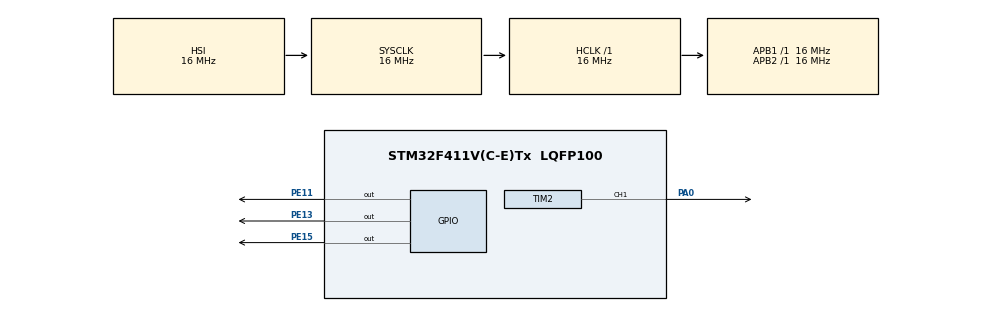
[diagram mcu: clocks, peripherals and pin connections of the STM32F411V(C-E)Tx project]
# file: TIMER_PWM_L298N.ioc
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Mcu.Family=STM32F4
Mcu.Name=STM32F411V(C-E)Tx
Mcu.Package=LQFP100
NVIC.PriorityGroup=NVIC_PRIORITYGROUP_4
PA0-WKUP.Signal=S_TIM2_CH1_ETR
PA13.Mode=Serial_Wire
PA13.Signal=SYS_JTMS-SWDIO
PA14.Mode=Serial_Wire
PA14.Signal=SYS_JTCK-SWCLK
PE11.Signal=GPIO_Output
PE13.Signal=GPIO_Output
PE15.Signal=GPIO_Output
PH0\ -\ OSC_IN.Mode=HSE-External-Oscillator
PH0\ -\ OSC_IN.Signal=RCC_OSC_IN
PH1\ -\ OSC_OUT.Mode=HSE-External-Oscillator
PH1\ -\ OSC_OUT.Signal=RCC_OSC_OUT
ProjectManager.HeapSize=0x200
ProjectManager.StackSize=0x400
ProjectManager.TargetToolchain=STM32CubeIDE
RCC.AHBFreq_Value=16000000
RCC.APB1Freq_Value=16000000
RCC.APB2Freq_Value=16000000
RCC.CortexFreq_Value=16000000
RCC.HSE_VALUE=25000000
RCC.HSI_VALUE=16000000
RCC.LSE_VALUE=32768
RCC.SYSCLKFreq_VALUE=16000000
RCC.VCOOutputFreq_Value=192000000
SH.S_TIM2_CH1_ETR.0=TIM2_CH1,PWM Generation1 CH1
TIM2.Channel-PWM\ Generation1\ CH1=TIM_CHANNEL_1
TIM2.Period=99
TIM2.Prescaler=159
VP_TIM2_VS_ClockSourceINT.Mode=Internal
board=custom

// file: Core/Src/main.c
/* USER CODE BEGIN Header */
/**
  ******************************************************************************
  * @file           : main.c
  * @brief          : Main program body
  ******************************************************************************
  * @attention
  *
  * Copyright (c) 2022 STMicroelectronics.
  * All rights reserved.
  *
  * This software is licensed under terms that can be found in the LICENSE file
  * in the root directory of this software component.
  * If no LICENSE file comes with this software, it is provided AS-IS.
  *
  ******************************************************************************
  */
/* USER CODE END Header */
#include "main.h"

/* USER CODE BEGIN PD */
#define IN1_PORT GPIOE
#define IN1_PIN GPIO_PIN_15

#define IN2_PORT GPIOE
#define IN2_PIN GPIO_PIN_13

#define RUNLED_PORT GPIOE
#define RUNLED_PIN GPIO_PIN_11
/* USER CODE END PD */

 TIM_HandleTypeDef htim2;

void SystemClock_Config(void);
static void MX_GPIO_Init(void);
static void MX_TIM2_Init(void);

int main(void)
{

  /* MCU Configuration--------------------------------------------------------*/

  /* Reset of all peripherals, Initializes the Flash interface and the Systick. */
  HAL_Init();

  /* Configure the system clock */
  SystemClock_Config();

  /* Initialize all configured peripherals */
  MX_GPIO_Init();
  MX_TIM2_Init();
  /* USER CODE BEGIN 2 */
  HAL_TIM_PWM_Start(&htim2, TIM_CHANNEL_1);
  /* USER CODE END 2 */

  /* Infinite loop */
  /* USER CODE BEGIN WHILE */
  while (1)
  {
		HAL_GPIO_WritePin(IN1_PORT, IN1_PIN, 0);
		HAL_GPIO_WritePin(IN2_PORT, IN2_PIN, 0);
		HAL_GPIO_WritePin(RUNLED_PORT, RUNLED_PIN, 0);
		__HAL_TIM_SetCompare(&htim2,TIM_CHANNEL_1,0);
		HAL_Delay(2000);

		HAL_GPIO_WritePin(IN1_PORT, IN1_PIN, 1);
		HAL_GPIO_WritePin(IN2_PORT, IN2_PIN, 0);
		HAL_GPIO_WritePin(RUNLED_PORT, RUNLED_PIN, 1);
		__HAL_TIM_SetCompare(&htim2,TIM_CHANNEL_1,99);
		HAL_Delay(2000);

		HAL_GPIO_WritePin(IN1_PORT, IN1_PIN, 0);
		HAL_GPIO_WritePin(IN2_PORT, IN2_PIN, 0);
		HAL_GPIO_WritePin(RUNLED_PORT, RUNLED_PIN, 0);
		__HAL_TIM_SetCompare(&htim2,TIM_CHANNEL_1,0);
		HAL_Delay(2000);

		HAL_GPIO_WritePin(IN1_PORT, IN1_PIN, 0);
		HAL_GPIO_WritePin(IN2_PORT, IN2_PIN, 1);
		HAL_GPIO_WritePin(RUNLED_PORT, RUNLED_PIN, 1);
		__HAL_TIM_SetCompare(&htim2,TIM_CHANNEL_1,99);
		HAL_Delay(2000);
    /* USER CODE END WHILE */

  }
}

void SystemClock_Config(void)
{
  RCC_OscInitTypeDef RCC_OscInitStruct = {0};
  RCC_ClkInitTypeDef RCC_ClkInitStruct = {0};

  /** Configure the main internal regulator output voltage
  */
  __HAL_RCC_PWR_CLK_ENABLE();
  __HAL_PWR_VOLTAGESCALING_CONFIG(PWR_REGULATOR_VOLTAGE_SCALE1);

  /** Initializes the RCC Oscillators according to the specified parameters
  * in the RCC_OscInitTypeDef structure.
  */
  RCC_OscInitStruct.OscillatorType = RCC_OSCILLATORTYPE_HSI;
  RCC_OscInitStruct.HSIState = RCC_HSI_ON;
  RCC_OscInitStruct.HSICalibrationValue = RCC_HSICALIBRATION_DEFAULT;
  RCC_OscInitStruct.PLL.PLLState = RCC_PLL_NONE;
  if (HAL_RCC_OscConfig(&RCC_OscInitStruct) != HAL_OK)
  {
    Error_Handler();
  }

  /** Initializes the CPU, AHB and APB buses clocks
  */
  RCC_ClkInitStruct.ClockType = RCC_CLOCKTYPE_HCLK|RCC_CLOCKTYPE_SYSCLK
                              |RCC_CLOCKTYPE_PCLK1|RCC_CLOCKTYPE_PCLK2;
  RCC_ClkInitStruct.SYSCLKSource = RCC_SYSCLKSOURCE_HSI;
  RCC_ClkInitStruct.AHBCLKDivider = RCC_SYSCLK_DIV1;
  RCC_ClkInitStruct.APB1CLKDivider = RCC_HCLK_DIV1;
  RCC_ClkInitStruct.APB2CLKDivider = RCC_HCLK_DIV1;

  if (HAL_RCC_ClockConfig(&RCC_ClkInitStruct, FLASH_LATENCY_0) != HAL_OK)
  {
    Error_Handler();
  }
}

static void MX_TIM2_Init(void)
{

  TIM_ClockConfigTypeDef sClockSourceConfig = {0};
  TIM_MasterConfigTypeDef sMasterConfig = {0};
  TIM_OC_InitTypeDef sConfigOC = {0};

  htim2.Instance = TIM2;
  htim2.Init.Prescaler = 159;
  htim2.Init.CounterMode = TIM_COUNTERMODE_UP;
  htim2.Init.Period = 99;
  htim2.Init.ClockDivision = TIM_CLOCKDIVISION_DIV1;
  htim2.Init.AutoReloadPreload = TIM_AUTORELOAD_PRELOAD_DISABLE;
  if (HAL_TIM_Base_Init(&htim2) != HAL_OK)
  {
    Error_Handler();
  }
  sClockSourceConfig.ClockSource = TIM_CLOCKSOURCE_INTERNAL;
  if (HAL_TIM_ConfigClockSource(&htim2, &sClockSourceConfig) != HAL_OK)
  {
    Error_Handler();
  }
  if (HAL_TIM_PWM_Init(&htim2) != HAL_OK)
  {
    Error_Handler();
  }
  sMasterConfig.MasterOutputTrigger = TIM_TRGO_RESET;
  sMasterConfig.MasterSlaveMode = TIM_MASTERSLAVEMODE_DISABLE;
  if (HAL_TIMEx_MasterConfigSynchronization(&htim2, &sMasterConfig) != HAL_OK)
  {
    Error_Handler();
  }
  sConfigOC.OCMode = TIM_OCMODE_PWM1;
  sConfigOC.Pulse = 0;
  sConfigOC.OCPolarity = TIM_OCPOLARITY_HIGH;
  sConfigOC.OCFastMode = TIM_OCFAST_DISABLE;
  if (HAL_TIM_PWM_ConfigChannel(&htim2, &sConfigOC, TIM_CHANNEL_1) != HAL_OK)
  {
    Error_Handler();
  }
  HAL_TIM_MspPostInit(&htim2);

}

static void MX_GPIO_Init(void)
{
  GPIO_InitTypeDef GPIO_InitStruct = {0};

  /* GPIO Ports Clock Enable */
  __HAL_RCC_GPIOH_CLK_ENABLE();
  __HAL_RCC_GPIOA_CLK_ENABLE();
  __HAL_RCC_GPIOE_CLK_ENABLE();

  /*Configure GPIO pin Output Level */
  HAL_GPIO_WritePin(GPIOE, GPIO_PIN_11|GPIO_PIN_13|GPIO_PIN_15, GPIO_PIN_RESET);

  /*Configure GPIO pins : PE11 PE13 PE15 */
  GPIO_InitStruct.Pin = GPIO_PIN_11|GPIO_PIN_13|GPIO_PIN_15;
  GPIO_InitStruct.Mode = GPIO_MODE_OUTPUT_PP;
  GPIO_InitStruct.Pull = GPIO_NOPULL;
  GPIO_InitStruct.Speed = GPIO_SPEED_FREQ_LOW;
  HAL_GPIO_Init(GPIOE, &GPIO_InitStruct);

}

void Error_Handler(void)
{
  __disable_irq();
  while (1)
  {
  }
}
